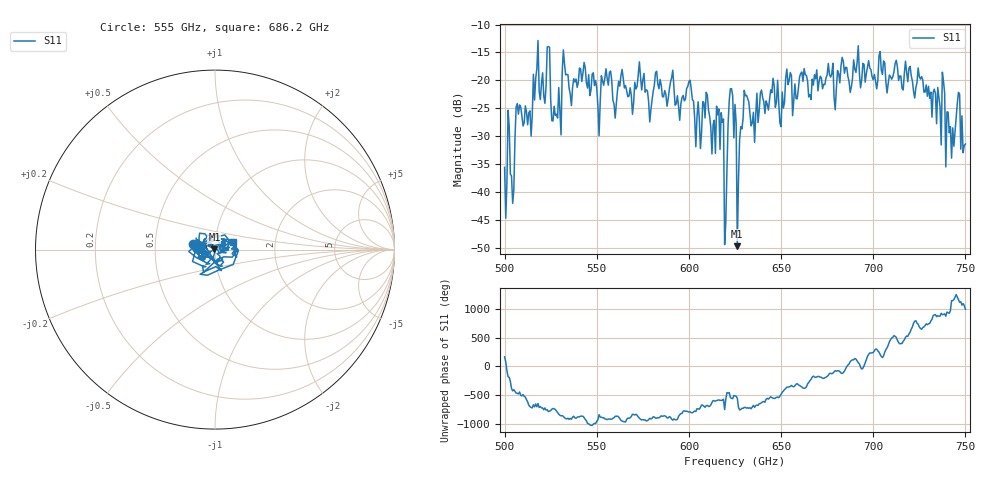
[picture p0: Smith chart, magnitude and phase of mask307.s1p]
!Created with skrf (http://scikit-rf.org).
# GHz S MA R 50.0
!freq magS11 angS11
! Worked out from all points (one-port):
!   401 points, 500 GHz to 750 GHz, reference 50 ohm
!   lowest |S11| = -49.7 dB at 626.2 GHz (marker M1), VSWR 1.01, Z = 49.7 + j0.0629 ohm
!   |S11| at or under -10 dB: start of sweep to end of sweep
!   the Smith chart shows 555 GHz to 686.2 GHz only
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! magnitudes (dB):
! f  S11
! 500 GHz  -35.6
! 502.5 GHz  -28.3
! 504.4 GHz  -42.0
! 507.5 GHz  -26.1
! 513.8 GHz  -25.5
! 516.9 GHz  -19.6
! 523.8 GHz  -13.9
! 526.9 GHz  -24.6
! 531.2 GHz  -18.5
! 562.5 GHz  -21.0
! 593.8 GHz  -22.8
! 600 GHz  -20.2
! 605 GHz  -23.8
! 616.2 GHz  -25.1
! 619.4 GHz  -49.4
! 620.6 GHz  -36.1
! 622.5 GHz  -21.5
! 625 GHz  -24.3
! 626.2 GHz  -49.7
! 631.2 GHz  -22.7
! 635 GHz  -25.7
! 656.2 GHz  -26.3
! 687.5 GHz  -22.2
! 718.8 GHz  -20.2
! 737.5 GHz  -18.5
! 742.5 GHz  -33.9
! 745.6 GHz  -24.1
! 750 GHz  -31.4
